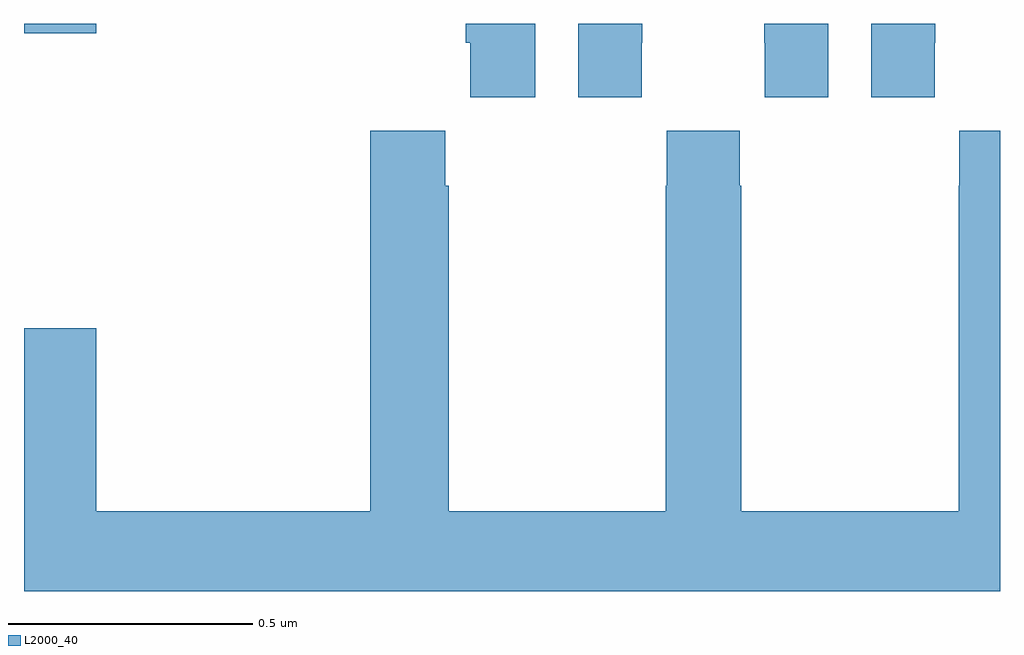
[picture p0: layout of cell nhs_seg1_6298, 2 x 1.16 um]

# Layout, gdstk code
import gdstk
lib = gdstk.Library(unit=1e-6, precision=1e-09)
def R(c, l, rs):  # rectangles x0, y0, x1, y1
    for r in rs: c.add(gdstk.rectangle(r[:2], r[2:], *l))
def P(c, l, *ps):  # polygons
    for p in ps: c.add(gdstk.Polygon(p, *l))
L2000_40 = (2000, 40)

nhs_seg1_6298 = lib.new_cell('nhs_seg1_6298')
R(nhs_seg1_6298, L2000_40, [(189,582.18,189.148,582.199)])
P(nhs_seg1_6298, L2000_40, [(190.048,582.199),(189.905,582.199),(189.905,582.16),(189.914,582.16),(189.914,582.048),(190.048,582.048)],
  [(190.266,582.16),(190.267,582.16),(190.267,582.199),(190.136,582.199),(190.136,582.048),(190.266,582.048)],
  [(190.648,582.199),(190.517,582.199),(190.517,582.16),(190.518,582.16),(190.518,582.048),(190.648,582.048)],
  [(190.866,582.16),(190.867,582.16),(190.867,582.199),(190.736,582.199),(190.736,582.048),(190.866,582.048)],
  [(191,581.98),(190.917,581.98),(190.917,581.867),(190.915,581.867),(190.915,581.2),(190.47,581.2),(190.47,581.867),(190.467,581.867),(190.467,581.98),(190.317,581.98),(190.317,581.867),(190.315,581.867),(190.315,581.2),(189.87,581.2),(189.87,581.867),(189.863,581.867),(189.863,581.98),(189.71,581.98),(189.71,581.2),(189.148,581.2),(189.148,581.575),(189,581.575),(189,581.036),(191,581.036)])

lib.write_gds('nhs_seg1_6298.gds')
